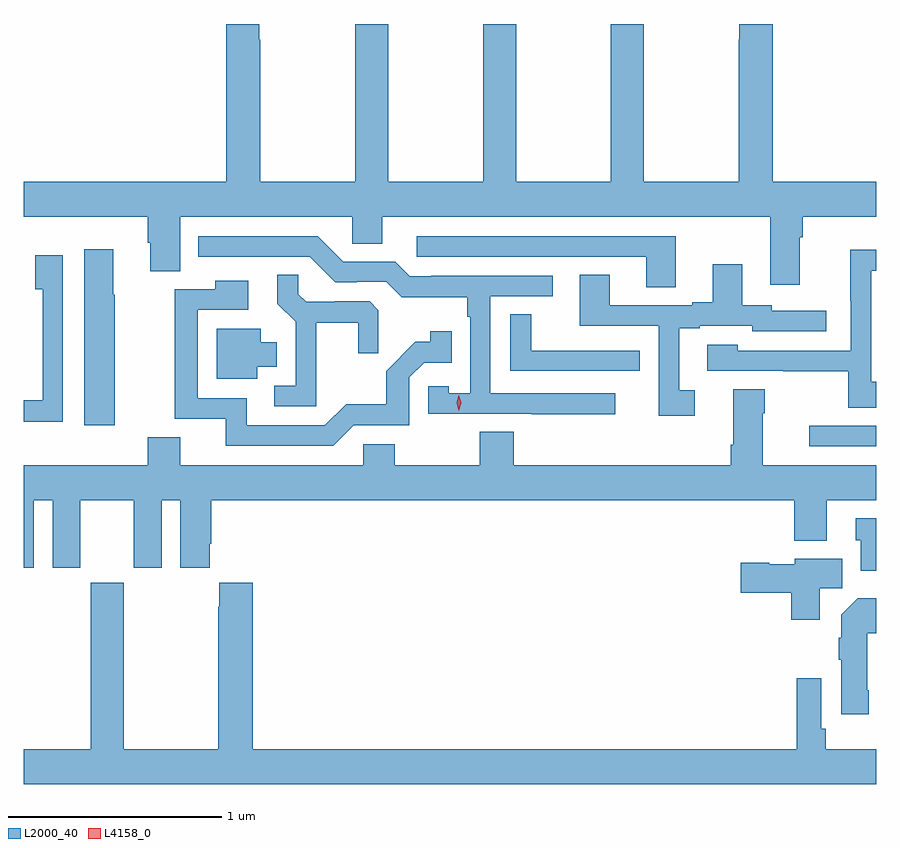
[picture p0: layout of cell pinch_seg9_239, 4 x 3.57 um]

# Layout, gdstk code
import gdstk
lib = gdstk.Library(unit=1e-6, precision=1e-09)
def R(c, l, rs):  # rectangles x0, y0, x1, y1
    for r in rs: c.add(gdstk.rectangle(r[:2], r[2:], *l))
def P(c, l, *ps):  # polygons
    for p in ps: c.add(gdstk.Polygon(p, *l))
L2000_40 = (2000, 40)
L4158_0 = (4158, 0)

pinch_seg9_239 = lib.new_cell('pinch_seg9_239')
R(pinch_seg9_239, L2000_40, [(426.951,1240.629,427.264,1240.725)])
P(pinch_seg9_239, L2000_40, [(426.907,1241.612),(426.92,1241.612),(426.92,1241.708),(427.264,1241.708),(427.264,1241.872),(426.779,1241.872),(426.779,1242.612),(426.623,1242.612),(426.623,1242.539),(426.619,1242.539),(426.619,1241.872),(426.174,1241.872),(426.174,1242.612),(426.019,1242.612),(426.019,1241.872),(425.574,1241.872),(425.574,1242.612),(425.419,1242.612),(425.419,1241.872),(424.974,1241.872),(424.974,1242.612),(424.819,1242.612),(424.819,1241.872),(424.374,1241.872),(424.374,1242.539),(424.369,1242.539),(424.369,1242.612),(424.214,1242.612),(424.214,1241.872),(423.264,1241.872),(423.264,1241.708),(423.845,1241.708),(423.845,1241.586),(423.857,1241.586),(423.857,1241.452),(423.997,1241.452),(423.997,1241.708),(424.806,1241.708),(424.806,1241.581),(424.945,1241.581),(424.945,1241.708),(426.767,1241.708),(426.767,1241.388),(426.907,1241.388)],
  [(426.04,1240.878),(425.454,1240.878),(425.454,1241.334),(425.746,1241.334),(425.746,1241.43),(425.176,1241.43),(425.176,1241.427),(425.076,1241.427),(425.007,1241.496),(424.764,1241.496),(424.644,1241.616),(424.082,1241.616),(424.082,1241.52),(424.605,1241.52),(424.725,1241.4),(424.826,1241.4),(424.826,1241.403),(424.965,1241.403),(425.038,1241.33),(425.346,1241.33),(425.346,1241.237),(425.358,1241.237),(425.358,1240.879),(425.259,1240.879),(425.259,1240.911),(425.163,1240.911),(425.163,1240.782),(425.647,1240.782),(425.647,1240.78),(426.04,1240.78)],
  [(426.325,1241.616),(425.109,1241.616),(425.109,1241.52),(426.185,1241.52),(426.185,1241.377),(426.325,1241.377)],
  [(423.69,1241.341),(423.682,1241.341),(423.682,1241.554),(423.548,1241.554),(423.548,1240.728),(423.69,1240.728)],
  [(427.264,1240.932),(427.242,1240.932),(427.242,1241.453),(427.264,1241.453),(427.264,1241.551),(427.144,1241.551),(427.144,1241.312),(427.146,1241.312),(427.146,1241.079),(426.615,1241.079),(426.615,1241.107),(426.471,1241.107),(426.471,1240.983),(426.829,1240.983),(426.829,1240.981),(427.134,1240.981),(427.134,1240.81),(427.264,1240.81)],
  [(423.447,1241.527),(423.317,1241.527),(423.317,1241.366),(423.351,1241.366),(423.351,1240.845),(423.264,1240.845),(423.264,1240.745),(423.447,1240.745)],
  [(426.412,1240.893),(426.34,1240.893),(426.34,1241.184),(426.436,1241.184),(426.436,1241.196),(426.684,1241.196),(426.684,1241.169),(427.03,1241.169),(427.03,1241.265),(426.774,1241.265),(426.774,1241.292),(426.637,1241.292),(426.637,1241.485),(426.497,1241.485),(426.497,1241.305),(426.401,1241.305),(426.401,1241.292),(426.013,1241.292),(426.013,1241.435),(425.873,1241.435),(425.873,1241.196),(426.243,1241.196),(426.243,1240.773),(426.412,1240.773)],
  [(424.637,1241.21),(424.834,1241.21),(424.834,1241.067),(424.928,1241.067),(424.928,1241.269),(424.887,1241.31),(424.722,1241.31),(424.722,1241.307),(424.588,1241.307),(424.551,1241.344),(424.551,1241.435),(424.453,1241.435),(424.453,1241.299),(424.539,1241.213),(424.539,1240.914),(424.44,1240.914),(424.44,1240.818),(424.637,1240.818)],
  [(424.812,1240.728),(425.073,1240.728),(425.073,1240.953),(425.142,1241.022),(425.273,1241.022),(425.273,1241.17),(425.172,1241.17),(425.172,1241.12),(425.102,1241.12),(424.965,1240.982),(424.965,1240.827),(424.776,1240.827),(424.677,1240.728),(424.309,1240.728),(424.309,1240.854),(424.08,1240.854),(424.08,1241.271),(424.318,1241.271),(424.318,1241.407),(424.162,1241.407),(424.162,1241.367),(423.972,1241.367),(423.972,1240.758),(424.211,1240.758),(424.211,1240.632),(424.716,1240.632)],
  [(426.154,1241.078),(426.041,1241.078),(426.041,1241.079),(425.646,1241.079),(425.646,1241.249),(425.547,1241.249),(425.547,1240.983),(426.154,1240.983)],
  [(424.36,1241.003),(424.45,1241.003),(424.45,1241.119),(424.375,1241.119),(424.375,1241.182),(424.169,1241.182),(424.169,1240.946),(424.36,1240.946)],
  [(426.733,1240.784),(426.741,1240.784),(426.741,1240.897),(426.593,1240.897),(426.593,1240.636),(426.581,1240.636),(426.581,1240.54),(425.564,1240.54),(425.564,1240.697),(425.404,1240.697),(425.404,1240.54),(425.004,1240.54),(425.004,1240.638),(424.857,1240.638),(424.857,1240.54),(423.997,1240.54),(423.997,1240.673),(423.845,1240.673),(423.845,1240.54),(423.264,1240.54),(423.264,1240.059),(423.31,1240.059),(423.31,1240.376),(423.398,1240.376),(423.398,1240.059),(423.529,1240.059),(423.529,1240.376),(423.779,1240.376),(423.779,1240.059),(423.91,1240.059),(423.91,1240.376),(423.998,1240.376),(423.998,1240.059),(424.135,1240.059),(424.135,1240.171),(424.142,1240.171),(424.142,1240.376),(426.881,1240.376),(426.881,1240.187),(427.033,1240.187),(427.033,1240.376),(427.264,1240.376),(427.264,1240.54),(426.733,1240.54)],
  [(427.264,1240.291),(427.169,1240.291),(427.169,1240.188),(427.193,1240.188),(427.193,1240.046),(427.264,1240.046)],
  [(427,1239.964),(427.105,1239.964),(427.105,1240.102),(426.882,1240.102),(426.882,1240.075),(426.762,1240.075),(426.762,1240.083),(426.63,1240.083),(426.63,1239.941),(426.866,1239.941),(426.866,1239.816),(427,1239.816)],
  [(427.264,1239.208),(427.028,1239.208),(427.028,1239.304),(427.008,1239.304),(427.008,1239.541),(426.892,1239.541),(426.892,1239.208),(424.337,1239.208),(424.337,1239.988),(424.181,1239.988),(424.181,1239.875),(424.177,1239.875),(424.177,1239.208),(423.732,1239.208),(423.732,1239.988),(423.577,1239.988),(423.577,1239.208),(423.264,1239.208),(423.264,1239.044),(427.264,1239.044)],
  [(427.23,1239.484),(427.222,1239.484),(427.222,1239.752),(427.264,1239.752),(427.264,1239.916),(427.178,1239.916),(427.1,1239.838),(427.1,1239.731),(427.088,1239.731),(427.088,1239.628),(427.1,1239.628),(427.1,1239.372),(427.23,1239.372)])
P(pinch_seg9_239, L4158_0, [(425.305,1240.797),(425.296,1240.833),(425.305,1240.869),(425.306,1240.869),(425.306,1240.869),(425.316,1240.833),(425.306,1240.797),(425.306,1240.797)])

lib.write_gds('pinch_seg9_239.gds')
